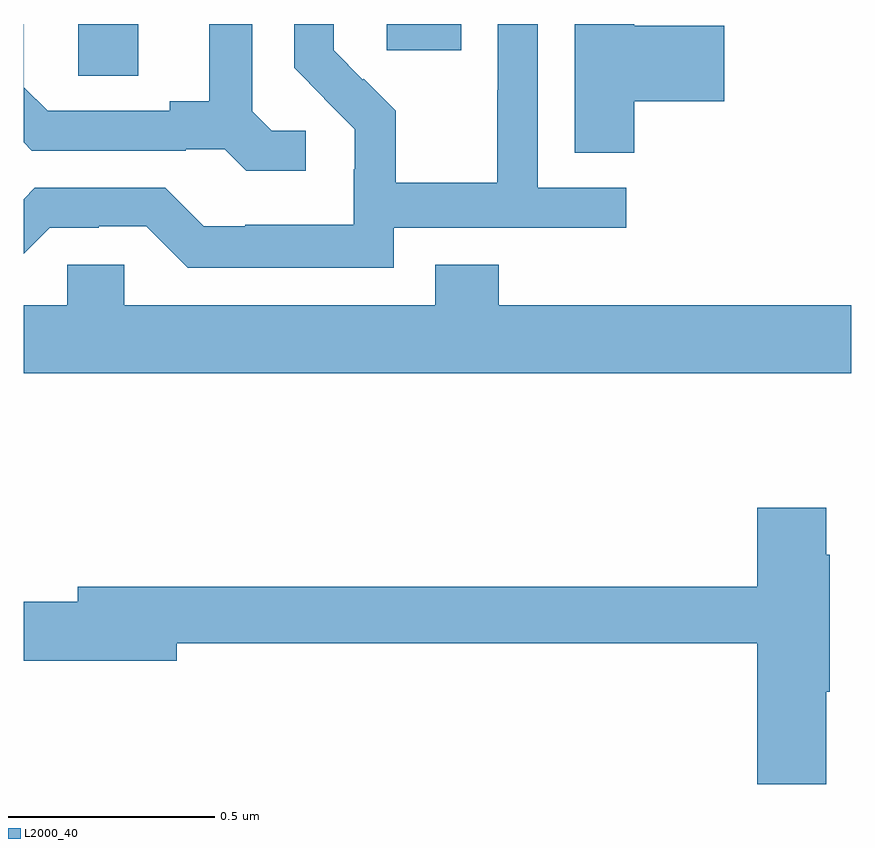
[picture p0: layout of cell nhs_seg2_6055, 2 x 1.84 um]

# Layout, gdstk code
import gdstk
lib = gdstk.Library(unit=1e-6, precision=1e-09)
def R(c, l, rs):  # rectangles x0, y0, x1, y1
    for r in rs: c.add(gdstk.rectangle(r[:2], r[2:], *l))
def P(c, l, *ps):  # polygons
    for p in ps: c.add(gdstk.Polygon(p, *l))
L2000_40 = (2000, 40)

nhs_seg2_6055 = lib.new_cell('nhs_seg2_6055')
R(nhs_seg2_6055, L2000_40, [(186.132,661.675,186.277,661.8), (186.878,661.737,187.057,661.8)])
P(nhs_seg2_6055, L2000_40, [(186.894,661.308),(187.456,661.308),(187.456,661.404),(187.242,661.404),(187.242,661.8),(187.146,661.8),(187.146,661.64),(187.144,661.64),(187.144,661.417),(186.899,661.417),(186.899,661.591),(186.822,661.668),(186.819,661.665),(186.749,661.736),(186.749,661.8),(186.654,661.8),(186.654,661.694),(186.727,661.621),(186.726,661.62),(186.8,661.546),(186.8,661.449),(186.798,661.449),(186.798,661.315),(186.535,661.315),(186.535,661.311),(186.435,661.311),(186.342,661.404),(186.027,661.404),(186,661.377),(186,661.245),(186.063,661.308),(186.182,661.308),(186.182,661.311),(186.297,661.311),(186.397,661.211),(186.894,661.211)],
  [(187.475,661.613),(187.693,661.613),(187.693,661.796),(187.475,661.796),(187.475,661.8),(187.331,661.8),(187.331,661.489),(187.475,661.489)],
  [(186.682,661.542),(186.6,661.542),(186.553,661.589),(186.553,661.8),(186.449,661.8),(186.449,661.613),(186.353,661.613),(186.353,661.59),(186.058,661.59),(186.001,661.647),(186.001,661.8),(186,661.8),(186,661.514),(186.02,661.494),(186.392,661.494),(186.392,661.497),(186.486,661.497),(186.538,661.445),(186.682,661.445)],
  [(188,661.12),(187.148,661.12),(187.148,661.219),(186.995,661.219),(186.995,661.12),(186.243,661.12),(186.243,661.218),(186.105,661.218),(186.105,661.12),(186,661.12),(186,660.956),(188,660.956)],
  [(187.939,660.187),(187.947,660.187),(187.947,660.518),(187.939,660.518),(187.939,660.631),(187.772,660.631),(187.772,660.44),(186.131,660.44),(186.131,660.404),(186,660.404),(186,660.262),(186.37,660.262),(186.37,660.304),(187.772,660.304),(187.772,659.964),(187.939,659.964)])

lib.write_gds('nhs_seg2_6055.gds')
